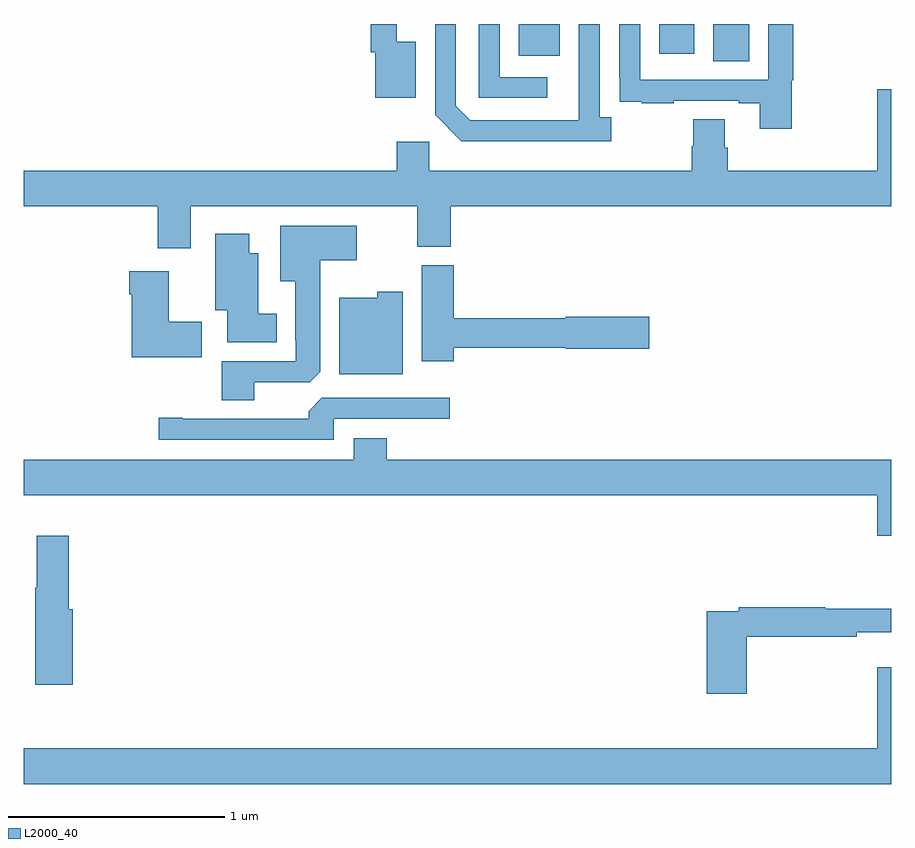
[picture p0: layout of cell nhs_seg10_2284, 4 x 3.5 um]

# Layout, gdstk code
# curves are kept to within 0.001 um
import gdstk
lib = gdstk.Library(unit=1e-6, precision=1e-09)
def R(c, l, rs):  # rectangles x0, y0, x1, y1
    for r in rs: c.add(gdstk.rectangle(r[:2], r[2:], *l))
def P(c, l, *ps):  # polygons
    for p in ps: c.add(gdstk.Polygon(p, *l))
L2000_40 = (2000, 40)

nhs_seg10_2284 = lib.new_cell('nhs_seg10_2284')
R(nhs_seg10_2284, L2000_40, [(236.18,1290.328,236.344,1290.5), (235.283,1290.353,235.471,1290.5), (235.931,1290.363,236.092,1290.5)])
P(nhs_seg10_2284, L2000_40, [(235.708,1290.07),(235.656,1290.07),(235.656,1290.5),(235.56,1290.5),(235.559,1290.057),(235.059,1290.057),(234.993,1290.123),(234.993,1290.5),(234.897,1290.5),(234.897,1290.081),(235.018,1289.96),(235.708,1289.96)],
  [(235.414,1290.255),(235.194,1290.255),(235.194,1290.5),(235.098,1290.5),(235.098,1290.159),(235.414,1290.159)],
  [(236.542,1290.24),(236.549,1290.24),(236.549,1290.5),(236.433,1290.5),(236.433,1290.243),(235.842,1290.243),(235.842,1290.5),(235.746,1290.5),(235.746,1290.25),(235.747,1290.25),(235.747,1290.141),(235.849,1290.141),(235.849,1290.135),(235.997,1290.135),(235.997,1290.147),(236.297,1290.147),(236.297,1290.135),(236.393,1290.135),(236.393,1290.018),(236.542,1290.018)],
  [(234.808,1290.418),(234.719,1290.418),(234.719,1290.5),(234.601,1290.5),(234.601,1290.369),(234.62,1290.369),(234.62,1290.161),(234.808,1290.161)],
  [(233.77,1289.66),(234.815,1289.66),(234.815,1289.473),(234.968,1289.473),(234.968,1289.66),(237,1289.66),(237,1290.199),(236.936,1290.199),(236.936,1289.824),(236.246,1289.824),(236.246,1289.93),(236.233,1289.93),(236.233,1290.062),(236.086,1290.062),(236.086,1289.937),(236.081,1289.937),(236.081,1289.824),(234.87,1289.824),(234.87,1289.956),(234.719,1289.956),(234.719,1289.824),(233,1289.824),(233,1289.66),(233.618,1289.66),(233.618,1289.466),(233.77,1289.466)],
  [(234.064,1288.848),(234.318,1288.848),(234.367,1288.897),(234.367,1289.411),(234.535,1289.411),(234.535,1289.569),(234.182,1289.569),(234.182,1289.315),(234.251,1289.315),(234.251,1289.041),(234.255,1289.041),(234.255,1288.944),(233.912,1288.944),(233.912,1288.765),(234.064,1288.765)],
  [(234.166,1289.164),(234.082,1289.164),(234.082,1289.443),(234.04,1289.443),(234.04,1289.533),(233.882,1289.533),(233.882,1289.18),(233.939,1289.18),(233.939,1289.033),(234.166,1289.033)],
  [(234.983,1289.008),(235.5,1289.008),(235.5,1289.003),(235.885,1289.003),(235.885,1289.15),(235.5,1289.15),(235.5,1289.144),(234.983,1289.144),(234.983,1289.388),(234.836,1289.388),(234.836,1288.944),(234.983,1288.944)],
  [(233.821,1289.127),(233.668,1289.127),(233.668,1289.359),(233.486,1289.359),(233.486,1289.255),(233.498,1289.255),(233.498,1288.964),(233.821,1288.964)],
  [(234.748,1289.266),(234.63,1289.266),(234.63,1289.239),(234.455,1289.239),(234.455,1288.886),(234.748,1288.886)],
  [(234.429,1288.68),(234.964,1288.68),(234.964,1288.776),(234.375,1288.776),(234.314,1288.714),(234.314,1288.68),(233.734,1288.68),(233.734,1288.685),(233.622,1288.685),(233.622,1288.584),(234.429,1288.584)],
  [(237,1288.492),(234.674,1288.492),(234.674,1288.591),(234.521,1288.591),(234.521,1288.492),(233,1288.492),(233,1288.328),(236.936,1288.328),(236.936,1288.14),(237,1288.14)],
  [(233.225,1287.801),(233.207,1287.801),(233.207,1288.141),(233.06,1288.141),(233.06,1287.901),(233.054,1287.901),(233.054,1287.453),(233.225,1287.453)],
  [(236.333,1287.676),(236.84,1287.676),(236.84,1287.695),(237,1287.695),(237,1287.805),(236.696,1287.805),(236.696,1287.812),(236.296,1287.812),(236.296,1287.792),(236.15,1287.792),(236.15,1287.411),(236.333,1287.411)],
  [(237,1287.535),(236.936,1287.535),(236.936,1287.16),(233,1287.16),(233,1286.996),(237,1286.996)])

lib.write_gds('nhs_seg10_2284.gds')
